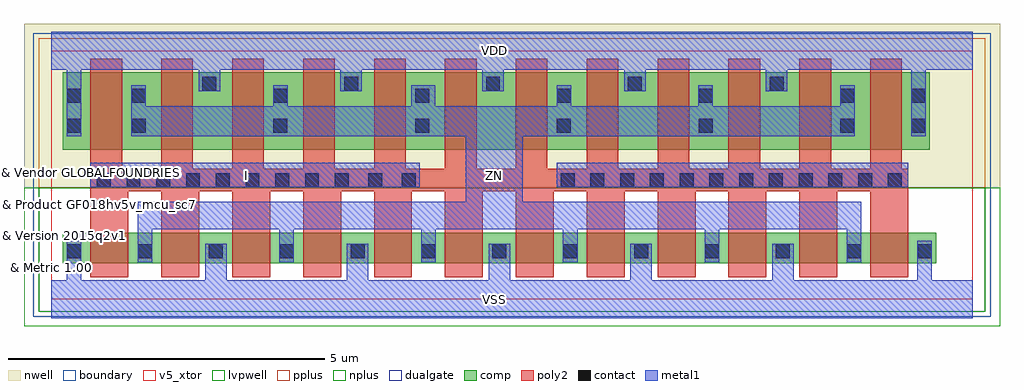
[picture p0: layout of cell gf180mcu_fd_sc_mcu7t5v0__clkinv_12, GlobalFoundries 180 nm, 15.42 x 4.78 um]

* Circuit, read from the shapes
.subckt gf180mcu_fd_sc_mcu7t5v0__clkinv_12 I VDD VSS ZN
XM1 ZN I VSS VSUBS nfet_05v0 w=0.48u l=0.6u m=12
XM2 ZN I VDD n1 pfet_05v0 w=1.22u l=0.5u m=12
.ends

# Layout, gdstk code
import gdstk
lib = gdstk.Library(unit=1e-6, precision=1e-09)
def R(c, l, rs):  # rectangles x0, y0, x1, y1
    for r in rs: c.add(gdstk.rectangle(r[:2], r[2:], *l))
def A(c, l, x, y, w, h, nx, ny, dx, dy):  # array of equal rectangles
    R(c, l, [(x+i*dx, y+j*dy, x+i*dx+w, y+j*dy+h) for i in range(nx) for j in range(ny)])
def P(c, l, *ps):  # polygons
    for p in ps: c.add(gdstk.Polygon(p, *l))
boundary = (0, 0)
nwell = (21, 0)
comp = (22, 0)
poly2 = (30, 0)
pplus = (31, 0)
nplus = (32, 0)
contact = (33, 0)
metal1 = (34, 0)
dualgate = (55, 0)
v5_xtor = (112, 1)
lvpwell = (204, 0)

gf180mcu_fd_sc_mcu7t5v0_ = lib.new_cell('gf180mcu_fd_sc_mcu7t5v0__clkinv_12')
R(gf180mcu_fd_sc_mcu7t5v0_, boundary, [(0,0,14.56,3.92)])
R(gf180mcu_fd_sc_mcu7t5v0_, nwell, [(-0.43,1.76,14.99,4.35)])
R(gf180mcu_fd_sc_mcu7t5v0_, comp, [(0.18,0.565,13.98,1.045), (0.18,2.36,13.88,3.58)])
P(gf180mcu_fd_sc_mcu7t5v0_, poly2, [(0.62,0.345),(0.62,3.8),(1.12,3.8),(1.12,2.06),(1.74,2.06),(1.74,3.8),(2.24,3.8),(2.24,2.06),(2.86,2.06),(2.86,3.8),(3.36,3.8),(3.36,2.06),(3.98,2.06),(3.98,3.8),(4.48,3.8),(4.48,2.06),(5.1,2.06),(5.1,3.8),(5.6,3.8),(5.6,2.06),(6.22,2.06),(6.22,3.8),(6.72,3.8),(6.72,2.06),(7.34,2.06),(7.34,3.8),(7.84,3.8),(7.84,2.06),(8.46,2.06),(8.46,3.8),(8.96,3.8),(8.96,2.06),(9.58,2.06),(9.58,3.8),(10.08,3.8),(10.08,2.06),(10.7,2.06),(10.7,3.8),(11.2,3.8),(11.2,2.06),(11.82,2.06),(11.82,3.8),(12.32,3.8),(12.32,2.06),(12.94,2.06),(12.94,3.8),(13.44,3.8),(13.44,2.06),(13.54,2.06),(13.54,0.345),(12.94,0.345),(12.94,1.7),(12.42,1.7),(12.42,0.345),(11.82,0.345),(11.82,1.7),(11.3,1.7),(11.3,0.345),(10.7,0.345),(10.7,1.7),(10.18,1.7),(10.18,0.345),(9.58,0.345),(9.58,1.7),(9.06,1.7),(9.06,0.345),(8.46,0.345),(8.46,1.7),(7.94,1.7),(7.94,0.345),(7.34,0.345),(7.34,1.7),(6.82,1.7),(6.82,0.345),(6.22,0.345),(6.22,1.7),(5.7,1.7),(5.7,0.345),(5.1,0.345),(5.1,1.7),(4.58,1.7),(4.58,0.345),(3.98,0.345),(3.98,1.7),(3.46,1.7),(3.46,0.345),(2.86,0.345),(2.86,1.7),(2.34,1.7),(2.34,0.345),(1.74,0.345),(1.74,1.7),(1.22,1.7),(1.22,0.345)])
R(gf180mcu_fd_sc_mcu7t5v0_, pplus, [(-0.2,1.76,14.76,4.12)])
R(gf180mcu_fd_sc_mcu7t5v0_, nplus, [(-0.2,-0.2,14.76,1.76)])
A(gf180mcu_fd_sc_mcu7t5v0_, contact, 0.25, 0.645, 0.22, 0.22, 13, 1, 1.12, 0)
A(gf180mcu_fd_sc_mcu7t5v0_, contact, 0.72, 1.77, 0.22, 0.22, 9, 1, 0.47, 0)
A(gf180mcu_fd_sc_mcu7t5v0_, contact, 8.05, 1.77, 0.22, 0.22, 12, 1, 0.47, 0)
A(gf180mcu_fd_sc_mcu7t5v0_, contact, 1.27, 2.63, 0.22, 0.22, 6, 2, 2.24, 0.47)
A(gf180mcu_fd_sc_mcu7t5v0_, contact, 2.39, 3.29, 0.22, 0.22, 5, 1, 2.24, 0)
R(gf180mcu_fd_sc_mcu7t5v0_, contact, [(5.01,1.77,5.23,1.99), (5.54,1.77,5.76,1.99), (0.25,2.63,0.47,2.85), (13.59,2.63,13.81,2.85), (0.25,3.1,0.47,3.32), (13.59,3.1,13.81,3.32)])
R(gf180mcu_fd_sc_mcu7t5v0_, metal1, [(0.62,1.765,5.82,2.15), (7.99,1.765,13.54,2.15)])
P(gf180mcu_fd_sc_mcu7t5v0_, metal1, [(1.365,0.585),(1.365,1.535),(6.55,1.535),(6.55,2.57),(1.265,2.57),(1.265,3.38),(1.495,3.38),(1.495,3.05),(3.505,3.05),(3.505,3.38),(3.735,3.38),(3.735,3.05),(5.69,3.05),(5.69,3.38),(6.07,3.38),(6.07,3.045),(7.985,3.045),(7.985,3.38),(8.215,3.38),(8.215,3.045),(10.225,3.045),(10.225,3.38),(10.455,3.38),(10.455,3.045),(12.465,3.045),(12.465,3.38),(12.695,3.38),(12.695,2.57),(7.45,2.57),(7.45,1.535),(12.795,1.535),(12.795,0.585),(12.565,0.585),(12.565,1.1),(10.555,1.1),(10.555,0.585),(10.325,0.585),(10.325,1.1),(8.315,1.1),(8.315,0.585),(8.085,0.585),(8.085,1.1),(6.075,1.1),(6.075,0.585),(5.845,0.585),(5.845,1.1),(3.835,1.1),(3.835,0.585),(3.605,0.585),(3.605,1.1),(1.595,1.1),(1.595,0.585)],
  [(0,-0.3),(0,0.3),(0.245,0.3),(0.245,0.925),(0.475,0.925),(0.475,0.3),(2.43,0.3),(2.43,0.87),(2.77,0.87),(2.77,0.3),(4.67,0.3),(4.67,0.87),(5.01,0.87),(5.01,0.3),(6.91,0.3),(6.91,0.87),(7.25,0.87),(7.25,0.3),(9.15,0.3),(9.15,0.87),(9.49,0.87),(9.49,0.3),(11.39,0.3),(11.39,0.87),(11.73,0.87),(11.73,0.3),(13.685,0.3),(13.685,0.925),(13.915,0.925),(13.915,0.3),(14.56,0.3),(14.56,-0.3)],
  [(0.245,2.57),(0.245,3.62),(0,3.62),(0,4.22),(14.56,4.22),(14.56,3.62),(13.815,3.62),(13.815,2.57),(13.585,2.57),(13.585,3.62),(11.63,3.62),(11.63,3.28),(11.29,3.28),(11.29,3.62),(9.39,3.62),(9.39,3.28),(9.05,3.28),(9.05,3.62),(7.15,3.62),(7.15,3.28),(6.81,3.28),(6.81,3.62),(4.91,3.62),(4.91,3.28),(4.57,3.28),(4.57,3.62),(2.67,3.62),(2.67,3.28),(2.33,3.28),(2.33,3.62),(0.475,3.62),(0.475,2.57)])
R(gf180mcu_fd_sc_mcu7t5v0_, dualgate, [(-0.28,-0.28,14.84,4.2)])
R(gf180mcu_fd_sc_mcu7t5v0_, v5_xtor, [(0,0,14.56,3.92)])
R(gf180mcu_fd_sc_mcu7t5v0_, lvpwell, [(-0.43,-0.43,14.99,1.76)])
gf180mcu_fd_sc_mcu7t5v0_.add(gdstk.Label('VDD', (7,3.92), layer=34, texttype=10))
gf180mcu_fd_sc_mcu7t5v0_.add(gdstk.Label('VSS', (7,0), layer=34, texttype=10))
gf180mcu_fd_sc_mcu7t5v0_.add(gdstk.Label('ZN', (7,1.96), layer=34, texttype=10))
gf180mcu_fd_sc_mcu7t5v0_.add(gdstk.Label('I', (3.08,1.96), layer=34, texttype=10))
gf180mcu_fd_sc_mcu7t5v0_.add(gdstk.Label('& Vendor GLOBALFOUNDRIES', (0,2), layer=63, texttype=63))
gf180mcu_fd_sc_mcu7t5v0_.add(gdstk.Label('& Product GF018hv5v_mcu_sc7', (0,1.5), layer=63, texttype=63))
gf180mcu_fd_sc_mcu7t5v0_.add(gdstk.Label('& Version 2015q2v1', (0,1), layer=63, texttype=63))
gf180mcu_fd_sc_mcu7t5v0_.add(gdstk.Label('& Metric 1.00', (0,0.5), layer=63, texttype=63))

lib.write_gds('gf180mcu_fd_sc_mcu7t5v0__clkinv_12.gds')
